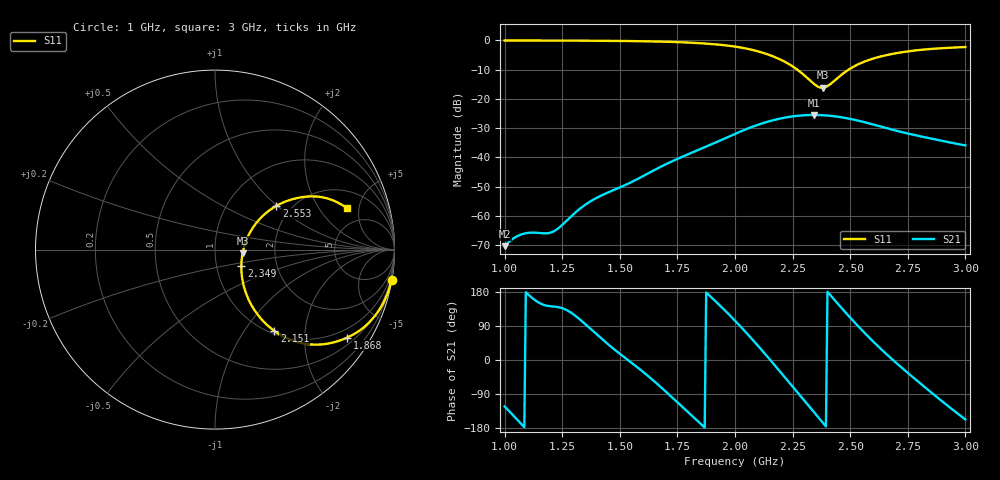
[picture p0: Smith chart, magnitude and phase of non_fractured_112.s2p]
! TOUCHSTONE file generated by CST MICROWAVE STUDIO
! Date and time: Sat Mar  8 13:54:44 2025
! Project name: non_fractured.cst
! Parameters = {B=2.5; D=160; F=10; Feed=2.85625; L=100; M=10; R=0.384908; S=2.5; Theta=270; length=57.125; wave=114.25}
! Header version: 2024
! Port assignment regex: !\s*Touchstone port\s*([0-9]+)\s*=\s*(CST MWS port|CST DES external port|CST DES block port)\s*(.+)\s* \(\"(.*)\"\)(\s*mode\s*([0-9]+))?.*
! Touchstone port assignment:
! Touchstone port 1 = CST MWS port 1 ("")
! Touchstone port 2 = CST MWS port 2 ("")
# GHz S DB R 50
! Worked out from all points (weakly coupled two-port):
!   305 points, 1 GHz to 3 GHz, reference 50 ohm
!   highest |S21| = -25.49 dB at 2.342 GHz (marker M1); lowest = -70.3 dB at 1 GHz (marker M2)
!   lowest |S11| = -16.2 dB at 2.382 GHz (marker M3), VSWR 1.37, Z = 68.1 - j2.79 ohm
!   |S11| at or under -10 dB: 2.271 GHz to 2.493 GHz (222.5 MHz wide, 9.34 % of centre)
!   S12 and S22 are empty: the file has one direction only
!   S11 on the Smith chart (normalised r, x): 1 GHz: 0, -12; 1.868 GHz: 0.70, -3.17; 2.151 GHz: 1.05, -1.38; 2.349 GHz: 1.32, -0.25; 2.553 GHz: 1.67, +0.99; 3 GHz: 3.28, +3.74
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1  -0.02 -9.8  -70.32 -122.7  -200.00 0.0  -200.00 0.0
1.03947  -0.02 -10.3  -67.59 -147.8  -200.00 0.0  -200.00 0.0
1.07895  -0.03 -10.8  -66.15 -173.2  -200.00 0.0  -200.00 0.0
1.21053  -0.05 -12.9  -65.36 141.2  -200.00 0.0  -200.00 0.0
1.33553  -0.09 -15.2  -56.99 102.4  -200.00 0.0  -200.00 0.0
1.40789  -0.12 -16.7  -53.47 63.1  -200.00 0.0  -200.00 0.0
1.67105  -0.40 -24.4  -43.46 -67.7  -200.00 0.0  -200.00 0.0
1.86842  -1.06 -33.6  -36.53 -178.2  -200.00 0.0  -200.00 0.0
2  -2.11 -42.5  -31.95 103.8  -200.00 0.0  -200.00 0.0
2.07895  -3.31 -48.7  -29.42 51.8  -200.00 0.0  -200.00 0.0
2.15132  -5.04 -53.9  -27.57 1.2  -200.00 0.0  -200.00 0.0
2.25  -8.88 -56.6  -25.97 -70.2  -200.00 0.0  -200.00 0.0
2.33553  -14.38 -39.5  -25.49 -132.7  -200.00 0.0  -200.00 0.0
2.34211  -14.82 -36.1  -25.49 -137.4  -200.00 0.0  -200.00 0.0
2.34868  -15.23 -32.2  -25.49 -142.2  -200.00 0.0  -200.00 0.0
2.38158  -16.20 -7.4  -25.58 -165.9  -200.00 0.0  -200.00 0.0
2.40789  -15.28 11.9  -25.73 175.3  -200.00 0.0  -200.00 0.0
2.47368  -11.05 33.3  -26.43 129.6  -200.00 0.0  -200.00 0.0
2.55263  -7.54 35.5  -27.77 77.7  -200.00 0.0  -200.00 0.0
2.67105  -4.80 30.7  -30.27 7.9  -200.00 0.0  -200.00 0.0
2.82895  -3.06 23.4  -33.18 -74.3  -200.00 0.0  -200.00 0.0
3  -2.26 17.5  -35.88 -157.0  -200.00 0.0  -200.00 0.0
